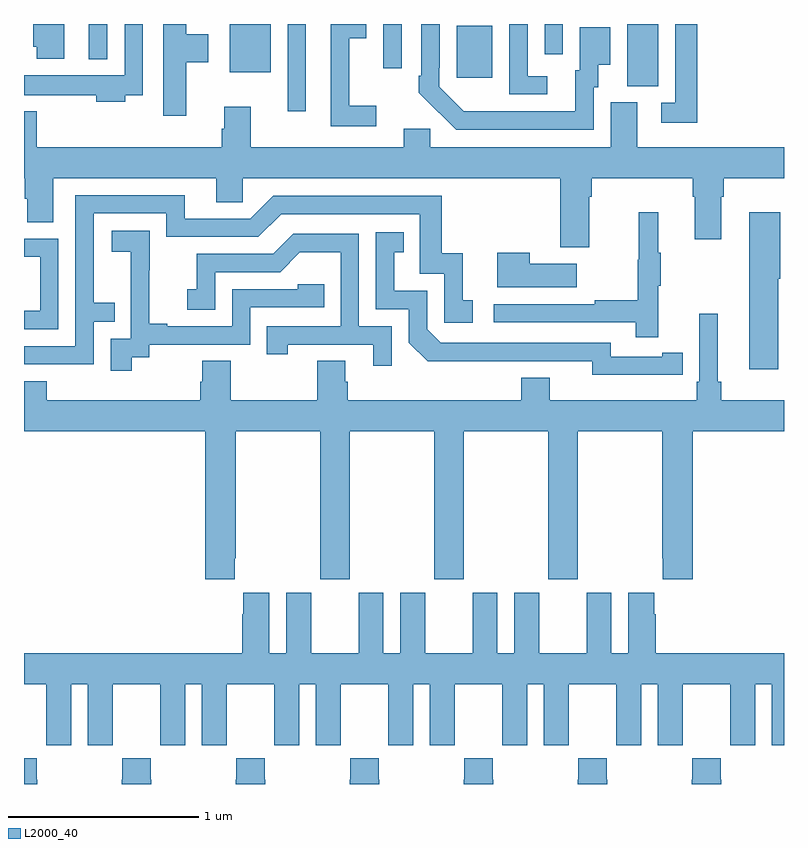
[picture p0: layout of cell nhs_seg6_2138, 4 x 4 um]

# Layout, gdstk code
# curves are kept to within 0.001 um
import gdstk
lib = gdstk.Library(unit=1e-6, precision=1e-09)
def R(c, l, rs):  # rectangles x0, y0, x1, y1
    for r in rs: c.add(gdstk.rectangle(r[:2], r[2:], *l))
def P(c, l, *ps):  # polygons
    for p in ps: c.add(gdstk.Polygon(p, *l))
L2000_40 = (2000, 40)

nhs_seg6_2138 = lib.new_cell('nhs_seg6_2138')
R(nhs_seg6_2138, L2000_40, [(240.387,929.04,240.484,929.5), (242.174,929.173,242.338,929.5), (241.277,929.217,241.465,929.491), (240.083,929.246,240.298,929.5), (240.891,929.268,240.987,929.5), (239.342,929.315,239.439,929.5), (241.74,929.34,241.836,929.5)])
P(nhs_seg6_2138, L2000_40, [(242.543,929.5),(242.427,929.5),(242.427,929.085),(242.355,929.085),(242.355,928.98),(242.543,928.98)],
  [(240.853,929.071),(240.713,929.071),(240.713,929.426),(240.802,929.426),(240.802,929.5),(240.614,929.5),(240.614,928.962),(240.853,928.962)],
  [(239.533,929.124),(239.625,929.124),(239.625,929.5),(239.529,929.5),(239.529,929.23),(239,929.23),(239,929.126),(239.149,929.126),(239.149,929.124),(239.381,929.124),(239.381,929.09),(239.533,929.09)],
  [(239.854,929.299),(239.971,929.299),(239.971,929.446),(239.854,929.446),(239.854,929.5),(239.732,929.5),(239.732,929.016),(239.854,929.016)],
  [(239.212,929.5),(239.048,929.5),(239.048,929.379),(239.066,929.379),(239.066,929.316),(239.212,929.316)],
  [(241.753,929.226),(241.65,929.226),(241.65,929.5),(241.554,929.5),(241.554,929.13),(241.753,929.13)],
  [(241.998,929.166),(242.023,929.166),(242.023,929.285),(242.086,929.285),(242.086,929.482),(241.925,929.482),(241.925,929.256),(241.901,929.256),(241.901,929.04),(241.314,929.041),(241.185,929.169),(241.185,929.269),(241.188,929.269),(241.188,929.5),(241.092,929.5),(241.092,929.227),(241.077,929.227),(241.077,929.139),(241.274,928.944),(241.998,928.944)],
  [(242.519,928.592),(242.531,928.592),(242.531,928.368),(242.671,928.368),(242.671,928.592),(242.684,928.592),(242.684,928.688),(243,928.688),(243,928.852),(242.227,928.852),(242.227,929.088),(242.087,929.088),(242.087,928.852),(241.137,928.852),(241.137,928.95),(240.998,928.95),(240.998,928.852),(240.193,928.852),(240.193,929.065),(240.053,929.065),(240.053,928.95),(240.041,928.95),(240.041,928.852),(239.066,928.852),(239.066,929.041),(239,929.041),(239,928.688),(239.003,928.688),(239.003,928.579),(239.016,928.579),(239.016,928.456),(239.155,928.456),(239.155,928.688),(240.011,928.688),(240.011,928.561),(240.15,928.561),(240.15,928.688),(241.823,928.688),(241.823,928.326),(241.975,928.326),(241.975,928.592),(241.988,928.592),(241.988,928.688),(242.519,928.688)],
  [(239.367,927.933),(239.477,927.933),(239.477,928.034),(239.367,928.034),(239.367,928.503),(239.748,928.503),(239.748,928.38),(240.234,928.38),(240.354,928.5),(241.083,928.5),(241.083,928.185),(241.212,928.185),(241.212,927.927),(241.363,927.927),(241.363,928.047),(241.31,928.047),(241.31,928.294),(241.199,928.294),(241.199,928.596),(240.312,928.596),(240.192,928.476),(239.845,928.476),(239.845,928.599),(239.271,928.599),(239.271,927.804),(239,927.804),(239,927.708),(239.367,927.708)],
  [(242.97,928.158),(242.98,928.158),(242.98,928.51),(242.816,928.51),(242.816,927.684),(242.97,927.684)],
  [(242.339,928.123),(242.35,928.123),(242.35,928.297),(242.339,928.297),(242.339,928.51),(242.236,928.51),(242.236,928.26),(242.229,928.26),(242.229,928.046),(242.005,928.046),(242.005,928.026),(241.473,928.026),(241.473,927.93),(242.221,927.93),(242.221,927.852),(242.339,927.852)],
  [(239.566,927.745),(239.658,927.745),(239.658,927.813),(240.192,927.813),(240.192,928.008),(240.581,928.008),(240.581,928.131),(240.441,928.131),(240.441,928.104),(240.096,928.104),(240.096,927.909),(239.755,927.909),(239.755,927.922),(239.66,927.922),(239.66,928.205),(239.661,928.205),(239.661,928.411),(239.463,928.411),(239.463,928.301),(239.561,928.301),(239.561,928.073),(239.562,928.073),(239.562,927.843),(239.457,927.843),(239.457,927.675),(239.566,927.675)],
  [(242.36,927.654),(242.468,927.654),(242.468,927.77),(242.36,927.77),(242.36,927.75),(242.088,927.75),(242.088,927.822),(241.194,927.822),(241.122,927.894),(241.122,928.095),(240.949,928.095),(240.949,928.299),(240.998,928.299),(240.998,928.405),(240.852,928.405),(240.852,927.999),(241.026,927.999),(241.026,927.822),(241.124,927.725),(241.992,927.726),(241.992,927.653)],
  [(240.936,927.909),(240.762,927.909),(240.762,928.395),(240.416,928.395),(240.311,928.29),(239.908,928.29),(239.908,928.105),(239.859,928.105),(239.859,927.996),(240.006,927.996),(240.006,928.194),(240.348,928.194),(240.452,928.298),(240.666,928.298),(240.666,927.909),(240.277,927.909),(240.277,927.762),(240.388,927.762),(240.388,927.813),(240.839,927.813),(240.839,927.702),(240.936,927.702)],
  [(239.181,928.371),(239,928.371),(239,928.275),(239.085,928.275),(239.085,927.99),(239,927.99),(239,927.894),(239.181,927.894)],
  [(241.909,928.237),(241.661,928.237),(241.661,928.297),(241.49,928.297),(241.49,928.115),(241.909,928.115)],
  [(239.954,926.577),(240.109,926.577),(240.109,926.689),(240.114,926.689),(240.114,927.356),(240.559,927.356),(240.559,926.577),(240.714,926.577),(240.714,927.356),(241.159,927.356),(241.159,926.577),(241.314,926.577),(241.314,927.356),(241.759,927.356),(241.759,926.577),(241.914,926.577),(241.914,927.356),(242.359,927.356),(242.359,926.689),(242.363,926.689),(242.363,926.577),(242.519,926.577),(242.519,927.356),(243,927.356),(243,927.52),(242.669,927.52),(242.669,927.616),(242.65,927.616),(242.65,927.976),(242.553,927.976),(242.553,927.616),(242.54,927.616),(242.54,927.52),(241.768,927.52),(241.768,927.637),(241.616,927.637),(241.616,927.52),(240.704,927.52),(240.704,927.618),(240.691,927.618),(240.691,927.728),(240.544,927.728),(240.544,927.52),(240.087,927.52),(240.087,927.728),(239.939,927.728),(239.939,927.618),(239.927,927.618),(239.927,927.52),(239.12,927.52),(239.12,927.619),(239,927.619),(239,927.356),(239.954,927.356)],
  [(240.892,926.506),(240.761,926.506),(240.761,926.188),(240.511,926.188),(240.511,926.506),(240.38,926.506),(240.38,926.188),(240.292,926.188),(240.292,926.506),(240.155,926.506),(240.155,926.393),(240.149,926.393),(240.149,926.188),(239,926.188),(239,926.024),(239.117,926.024),(239.117,925.816),(239.118,925.816),(239.118,925.704),(239.248,925.704),(239.248,926.024),(239.336,926.024),(239.336,925.704),(239.466,925.704),(239.466,925.816),(239.467,925.816),(239.467,926.024),(239.717,926.024),(239.717,925.816),(239.718,925.816),(239.718,925.704),(239.848,925.704),(239.848,926.024),(239.936,926.024),(239.936,925.704),(240.066,925.704),(240.066,925.816),(240.067,925.816),(240.067,926.024),(240.317,926.024),(240.317,925.816),(240.318,925.816),(240.318,925.704),(240.448,925.704),(240.448,926.024),(240.536,926.024),(240.536,925.704),(240.666,925.704),(240.666,925.816),(240.667,925.816),(240.667,926.024),(240.917,926.024),(240.917,925.816),(240.918,925.816),(240.918,925.704),(241.048,925.704),(241.048,926.024),(241.136,926.024),(241.136,925.704),(241.266,925.704),(241.266,925.816),(241.267,925.816),(241.267,926.024),(241.517,926.024),(241.517,925.816),(241.518,925.816),(241.518,925.704),(241.648,925.704),(241.648,926.024),(241.736,926.024),(241.736,925.704),(241.866,925.704),(241.866,925.816),(241.867,925.816),(241.867,926.024),(242.117,926.024),(242.117,925.816),(242.118,925.816),(242.118,925.704),(242.248,925.704),(242.248,926.024),(242.336,926.024),(242.336,925.704),(242.466,925.704),(242.466,925.816),(242.467,925.816),(242.467,926.024),(242.717,926.024),(242.717,925.816),(242.718,925.816),(242.718,925.704),(242.848,925.704),(242.848,926.024),(242.936,926.024),(242.936,925.704),(243,925.704),(243,926.188),(242.324,926.188),(242.324,926.393),(242.317,926.393),(242.317,926.506),(242.18,926.506),(242.18,926.188),(242.092,926.188),(242.092,926.506),(241.961,926.506),(241.961,926.188),(241.711,926.188),(241.711,926.506),(241.58,926.506),(241.58,926.188),(241.492,926.188),(241.492,926.506),(241.361,926.506),(241.361,926.188),(241.111,926.188),(241.111,926.506),(240.98,926.506),(240.98,926.188),(240.892,926.188)],
  [(240.87,925.523),(240.867,925.523),(240.867,925.636),(240.717,925.636),(240.717,925.523),(240.715,925.523),(240.715,925.5),(240.87,925.5)],
  [(242.67,925.523),(242.667,925.523),(242.667,925.636),(242.517,925.636),(242.517,925.523),(242.515,925.523),(242.515,925.5),(242.67,925.5)],
  [(242.07,925.523),(242.067,925.523),(242.067,925.636),(241.917,925.636),(241.917,925.523),(241.915,925.523),(241.915,925.5),(242.07,925.5)],
  [(240.27,925.523),(240.267,925.523),(240.267,925.636),(240.117,925.636),(240.117,925.523),(240.115,925.523),(240.115,925.5),(240.27,925.5)],
  [(239.67,925.523),(239.667,925.523),(239.667,925.636),(239.517,925.636),(239.517,925.523),(239.515,925.523),(239.515,925.5),(239.67,925.5)],
  [(239.07,925.523),(239.067,925.523),(239.067,925.636),(239,925.636),(239,925.5),(239.07,925.5)],
  [(241.47,925.523),(241.467,925.523),(241.467,925.636),(241.317,925.636),(241.317,925.523),(241.315,925.523),(241.315,925.5),(241.47,925.5)])

lib.write_gds('nhs_seg6_2138.gds')
